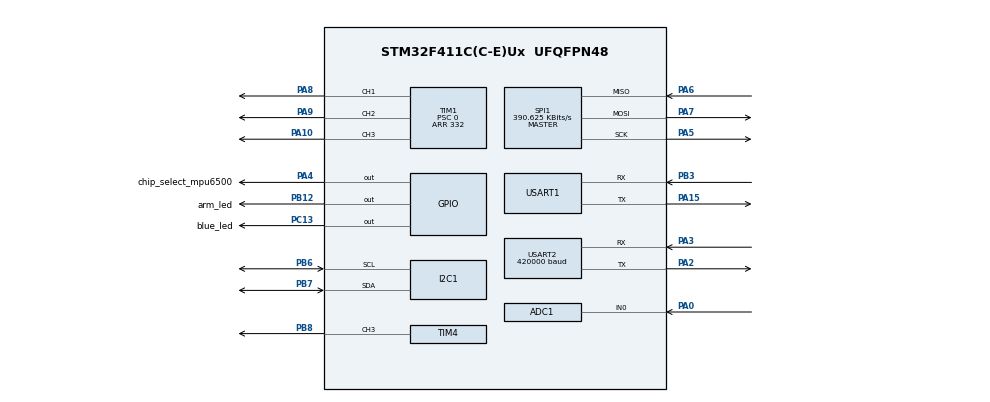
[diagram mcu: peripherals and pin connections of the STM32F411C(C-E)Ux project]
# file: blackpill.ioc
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ADC1.Channel-0\#ChannelRegularConversion=ADC_CHANNEL_0
ADC1.NbrOfConversionFlag=1
ADC1.Rank-0\#ChannelRegularConversion=1
ADC1.SamplingTime-0\#ChannelRegularConversion=ADC_SAMPLETIME_480CYCLES
ADC1.master=1
Dma.Request0=USART1_RX
Dma.Request1=USART1_TX
Dma.Request2=SPI1_RX
Dma.Request3=SPI1_TX
Dma.Request4=USART2_RX
Dma.Request5=USART2_TX
Dma.Request6=TIM1_CH1
Dma.Request7=TIM1_CH2
Dma.Request8=TIM1_CH3
Dma.Request9=TIM4_CH3
Dma.SPI1_RX.2.Direction=DMA_PERIPH_TO_MEMORY
Dma.SPI1_RX.2.FIFOMode=DMA_FIFOMODE_DISABLE
Dma.SPI1_RX.2.Instance=DMA2_Stream0
Dma.SPI1_RX.2.MemDataAlignment=DMA_MDATAALIGN_BYTE
Dma.SPI1_RX.2.MemInc=DMA_MINC_ENABLE
Dma.SPI1_RX.2.Mode=DMA_NORMAL
Dma.SPI1_RX.2.PeriphDataAlignment=DMA_PDATAALIGN_BYTE
Dma.SPI1_RX.2.PeriphInc=DMA_PINC_DISABLE
Dma.SPI1_RX.2.Priority=DMA_PRIORITY_LOW
Dma.SPI1_TX.3.Direction=DMA_MEMORY_TO_PERIPH
Dma.SPI1_TX.3.FIFOMode=DMA_FIFOMODE_DISABLE
Dma.SPI1_TX.3.Instance=DMA2_Stream3
Dma.SPI1_TX.3.MemDataAlignment=DMA_MDATAALIGN_BYTE
Dma.SPI1_TX.3.MemInc=DMA_MINC_ENABLE
Dma.SPI1_TX.3.Mode=DMA_NORMAL
Dma.SPI1_TX.3.PeriphDataAlignment=DMA_PDATAALIGN_BYTE
Dma.SPI1_TX.3.PeriphInc=DMA_PINC_DISABLE
Dma.SPI1_TX.3.Priority=DMA_PRIORITY_LOW
Dma.TIM1_CH1.6.Direction=DMA_MEMORY_TO_PERIPH
Dma.TIM1_CH1.6.FIFOMode=DMA_FIFOMODE_DISABLE
Dma.TIM1_CH1.6.Instance=DMA2_Stream1
Dma.TIM1_CH1.6.MemDataAlignment=DMA_MDATAALIGN_HALFWORD
Dma.TIM1_CH1.6.MemInc=DMA_MINC_ENABLE
Dma.TIM1_CH1.6.Mode=DMA_NORMAL
Dma.TIM1_CH1.6.PeriphDataAlignment=DMA_PDATAALIGN_HALFWORD
Dma.TIM1_CH1.6.PeriphInc=DMA_PINC_DISABLE
Dma.TIM1_CH1.6.Priority=DMA_PRIORITY_VERY_HIGH
Dma.TIM1_CH2.7.Direction=DMA_MEMORY_TO_PERIPH
Dma.TIM1_CH2.7.FIFOMode=DMA_FIFOMODE_DISABLE
Dma.TIM1_CH2.7.Instance=DMA2_Stream2
Dma.TIM1_CH2.7.MemDataAlignment=DMA_MDATAALIGN_HALFWORD
Dma.TIM1_CH2.7.MemInc=DMA_MINC_ENABLE
Dma.TIM1_CH2.7.Mode=DMA_NORMAL
Dma.TIM1_CH2.7.PeriphDataAlignment=DMA_PDATAALIGN_HALFWORD
Dma.TIM1_CH2.7.PeriphInc=DMA_PINC_DISABLE
Dma.TIM1_CH2.7.Priority=DMA_PRIORITY_VERY_HIGH
Dma.TIM1_CH3.8.Direction=DMA_MEMORY_TO_PERIPH
Dma.TIM1_CH3.8.FIFOMode=DMA_FIFOMODE_DISABLE
Dma.TIM1_CH3.8.Instance=DMA2_Stream6
Dma.TIM1_CH3.8.MemDataAlignment=DMA_MDATAALIGN_HALFWORD
Dma.TIM1_CH3.8.MemInc=DMA_MINC_ENABLE
Dma.TIM1_CH3.8.Mode=DMA_NORMAL
Dma.TIM1_CH3.8.PeriphDataAlignment=DMA_PDATAALIGN_HALFWORD
Dma.TIM1_CH3.8.PeriphInc=DMA_PINC_DISABLE
Dma.TIM1_CH3.8.Priority=DMA_PRIORITY_VERY_HIGH
Dma.TIM4_CH3.9.Direction=DMA_MEMORY_TO_PERIPH
Dma.TIM4_CH3.9.FIFOMode=DMA_FIFOMODE_DISABLE
Dma.TIM4_CH3.9.Instance=DMA1_Stream7
Dma.TIM4_CH3.9.MemDataAlignment=DMA_MDATAALIGN_HALFWORD
Dma.TIM4_CH3.9.MemInc=DMA_MINC_ENABLE
Dma.TIM4_CH3.9.Mode=DMA_NORMAL
Dma.TIM4_CH3.9.PeriphDataAlignment=DMA_PDATAALIGN_HALFWORD
Dma.TIM4_CH3.9.PeriphInc=DMA_PINC_DISABLE
Dma.TIM4_CH3.9.Priority=DMA_PRIORITY_VERY_HIGH
Dma.USART1_RX.0.Direction=DMA_PERIPH_TO_MEMORY
Dma.USART1_RX.0.FIFOMode=DMA_FIFOMODE_DISABLE
Dma.USART1_RX.0.Instance=DMA2_Stream5
Dma.USART1_RX.0.MemDataAlignment=DMA_MDATAALIGN_BYTE
Dma.USART1_RX.0.MemInc=DMA_MINC_ENABLE
Dma.USART1_RX.0.Mode=DMA_NORMAL
Dma.USART1_RX.0.PeriphDataAlignment=DMA_PDATAALIGN_BYTE
Dma.USART1_RX.0.PeriphInc=DMA_PINC_DISABLE
Dma.USART1_RX.0.Priority=DMA_PRIORITY_LOW
Dma.USART1_TX.1.Direction=DMA_MEMORY_TO_PERIPH
Dma.USART1_TX.1.FIFOMode=DMA_FIFOMODE_DISABLE
Dma.USART1_TX.1.Instance=DMA2_Stream7
Dma.USART1_TX.1.MemDataAlignment=DMA_MDATAALIGN_BYTE
Dma.USART1_TX.1.MemInc=DMA_MINC_ENABLE
Dma.USART1_TX.1.Mode=DMA_NORMAL
Dma.USART1_TX.1.PeriphDataAlignment=DMA_PDATAALIGN_BYTE
Dma.USART1_TX.1.PeriphInc=DMA_PINC_DISABLE
Dma.USART1_TX.1.Priority=DMA_PRIORITY_LOW
Dma.USART2_RX.4.Direction=DMA_PERIPH_TO_MEMORY
Dma.USART2_RX.4.FIFOMode=DMA_FIFOMODE_DISABLE
Dma.USART2_RX.4.Instance=DMA1_Stream5
Dma.USART2_RX.4.MemDataAlignment=DMA_MDATAALIGN_BYTE
Dma.USART2_RX.4.MemInc=DMA_MINC_ENABLE
Dma.USART2_RX.4.Mode=DMA_NORMAL
Dma.USART2_RX.4.PeriphDataAlignment=DMA_PDATAALIGN_BYTE
Dma.USART2_RX.4.PeriphInc=DMA_PINC_DISABLE
Dma.USART2_RX.4.Priority=DMA_PRIORITY_LOW
Dma.USART2_TX.5.Direction=DMA_MEMORY_TO_PERIPH
Dma.USART2_TX.5.FIFOMode=DMA_FIFOMODE_DISABLE
Dma.USART2_TX.5.Instance=DMA1_Stream6
Dma.USART2_TX.5.MemDataAlignment=DMA_MDATAALIGN_BYTE
Dma.USART2_TX.5.MemInc=DMA_MINC_ENABLE
Dma.USART2_TX.5.Mode=DMA_NORMAL
Dma.USART2_TX.5.PeriphDataAlignment=DMA_PDATAALIGN_BYTE
Dma.USART2_TX.5.PeriphInc=DMA_PINC_DISABLE
Dma.USART2_TX.5.Priority=DMA_PRIORITY_LOW
Mcu.Family=STM32F4
Mcu.Name=STM32F411C(C-E)Ux
Mcu.Package=UFQFPN48
NVIC.DMA1_Stream5_IRQn=true\:11\:0\:true\:false\:false\:true\:false\:true
NVIC.DMA2_Stream0_IRQn=true\:5\:0\:true\:false\:false\:true\:false\:true
NVIC.I2C1_ER_IRQn=true\:9\:0\:true\:false\:false\:true\:false\:true
NVIC.I2C1_EV_IRQn=true\:9\:0\:true\:false\:false\:true\:false\:true
NVIC.PriorityGroup=NVIC_PRIORITYGROUP_4
NVIC.TIM3_IRQn=true\:5\:0\:true\:false\:false\:true\:false\:true
NVIC.USART1_IRQn=true\:14\:0\:true\:false\:false\:true\:false\:true
NVIC.USART2_IRQn=true\:11\:0\:true\:false\:false\:true\:false\:true
PA0-WKUP.Signal=ADCx_IN0
PA10.GPIO_PuPd=GPIO_PULLDOWN
PA10.GPIO_Speed=GPIO_SPEED_FREQ_HIGH
PA10.Signal=S_TIM1_CH3
PA13.Mode=Serial_Wire
PA13.Signal=SYS_JTMS-SWDIO
PA14.Mode=Serial_Wire
PA14.Signal=SYS_JTCK-SWCLK
PA15.Mode=Asynchronous
PA15.Signal=USART1_TX
PA2.Mode=Asynchronous
PA2.Signal=USART2_TX
PA3.Mode=Asynchronous
PA3.Signal=USART2_RX
PA4.GPIO_Label=chip_select_mpu6500
PA4.GPIO_PuPd=GPIO_PULLUP
PA4.PinState=GPIO_PIN_SET
PA4.Signal=GPIO_Output
PA5.Mode=Full_Duplex_Master
PA5.Signal=SPI1_SCK
PA6.Mode=Full_Duplex_Master
PA6.Signal=SPI1_MISO
PA7.Mode=Full_Duplex_Master
PA7.Signal=SPI1_MOSI
PA8.GPIO_PuPd=GPIO_PULLDOWN
PA8.GPIO_Speed=GPIO_SPEED_FREQ_HIGH
PA8.Signal=S_TIM1_CH1
PA9.GPIO_PuPd=GPIO_PULLDOWN
PA9.GPIO_Speed=GPIO_SPEED_FREQ_HIGH
PA9.Signal=S_TIM1_CH2
PB12.GPIO_Label=arm_led
PB12.GPIO_PuPd=GPIO_PULLDOWN
PB12.Signal=GPIO_Output
PB3.Mode=Asynchronous
PB3.Signal=USART1_RX
PB6.GPIO_Pu=GPIO_PULLUP
PB6.Mode=I2C
PB6.Signal=I2C1_SCL
PB7.GPIO_Pu=GPIO_PULLUP
PB7.Mode=I2C
PB7.Signal=I2C1_SDA
PB8.GPIO_PuPd=GPIO_PULLDOWN
PB8.GPIO_Speed=GPIO_SPEED_FREQ_HIGH
PB8.Signal=S_TIM4_CH3
PC13-ANTI_TAMP.GPIO_Label=blue_led
PC13-ANTI_TAMP.Signal=GPIO_Output
PH0\ -\ OSC_IN.Mode=HSE-External-Oscillator
PH0\ -\ OSC_IN.Signal=RCC_OSC_IN
PH1\ -\ OSC_OUT.Mode=HSE-External-Oscillator
PH1\ -\ OSC_OUT.Signal=RCC_OSC_OUT
ProjectManager.HeapSize=0x200
ProjectManager.StackSize=0x400
ProjectManager.TargetToolchain=Makefile
RCC.48MHZClocksFreq_Value=50000000
RCC.AHBFreq_Value=100000000
RCC.APB1CLKDivider=RCC_HCLK_DIV2
RCC.APB1Freq_Value=50000000
RCC.APB1TimFreq_Value=100000000
RCC.APB2Freq_Value=100000000
RCC.APB2TimFreq_Value=100000000
RCC.CortexFreq_Value=100000000
RCC.HCLKFreq_Value=100000000
RCC.HSE_VALUE=25000000
RCC.HSI_VALUE=16000000
RCC.LSE_VALUE=32768
RCC.PLLM=12
RCC.PLLN=96
RCC.PLLSourceVirtual=RCC_PLLSOURCE_HSE
RCC.SYSCLKFreq_VALUE=100000000
RCC.SYSCLKSource=RCC_SYSCLKSOURCE_PLLCLK
RCC.VCOOutputFreq_Value=200000000
SH.ADCx_IN0.0=ADC1_IN0,IN0
SH.S_TIM1_CH1.0=TIM1_CH1,PWM Generation1 CH1
SH.S_TIM1_CH2.0=TIM1_CH2,PWM Generation2 CH2
SH.S_TIM1_CH3.0=TIM1_CH3,PWM Generation3 CH3
SH.S_TIM4_CH3.0=TIM4_CH3,PWM Generation3 CH3
SPI1.BaudRatePrescaler=SPI_BAUDRATEPRESCALER_256
SPI1.CalculateBaudRate=390.625 KBits/s
SPI1.Direction=SPI_DIRECTION_2LINES
SPI1.Mode=SPI_MODE_MASTER
SPI1.VirtualType=VM_MASTER
TIM1.AutoReloadPreload=TIM_AUTORELOAD_PRELOAD_ENABLE
TIM1.Channel-PWM\ Generation1\ CH1=TIM_CHANNEL_1
TIM1.Channel-PWM\ Generation2\ CH2=TIM_CHANNEL_2
TIM1.Channel-PWM\ Generation3\ CH3=TIM_CHANNEL_3
TIM1.Period=332
TIM1.Prescaler=0
TIM1.TIM_MasterOutputTrigger=TIM_TRGO_UPDATE
TIM2.Period=0xFFFFFFFF
TIM2.Prescaler=99
TIM3.Period=39
TIM3.Prescaler=9999
TIM4.AutoReloadPreload=TIM_AUTORELOAD_PRELOAD_ENABLE
TIM4.Channel-PWM\ Generation3\ CH3=TIM_CHANNEL_3
TIM4.Period=332
TIM4.Prescaler=0
USART1.VirtualMode=VM_ASYNC
USART2.BaudRate=420000
USART2.VirtualMode=VM_ASYNC
VP_TIM1_VS_ClockSourceINT.Mode=Internal
VP_TIM2_VS_ClockSourceINT.Mode=Internal
VP_TIM3_VS_ClockSourceINT.Mode=Internal
VP_TIM4_VS_ClockSourceITR.Mode=TriggerSource_ITR0
VP_TIM4_VS_ControllerModeReset.Mode=Reset Mode
board=custom

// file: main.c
/* USER CODE BEGIN Header */
/**
  ******************************************************************************
  * @file           : main.c
  * @brief          : Main program body
  ******************************************************************************
  * @attention
  *
  * Copyright (c) 2025 STMicroelectronics.
  * All rights reserved.
  *
  * This software is licensed under terms that can be found in the LICENSE file
  * in the root directory of this software component.
  * If no LICENSE file comes with this software, it is provided AS-IS.
  *
  ******************************************************************************
  */
/* USER CODE END Header */
#include "main.h"

void SystemClock_Config(void);
static void MX_GPIO_Init(void);
static void MX_DMA_Init(void);
static void MX_USART1_UART_Init(void);
static void MX_SPI1_Init(void);
static void MX_TIM2_Init(void);
static void MX_TIM3_Init(void);
static void MX_I2C1_Init(void);
static void MX_USART2_UART_Init(void);
static void MX_TIM1_Init(void);
static void MX_ADC1_Init(void);
static void MX_TIM4_Init(void);

/* USER CODE BEGIN 0 */
void hal_failed_assert_handler(const char* file, const uint32_t line, const uint32_t pc);
void hal_error_handler(const uint32_t pc);
void controller_initialize_hardware_and_start_scheduler(void);
/* USER CODE END 0 */

int main(void)
{

  /* MCU Configuration--------------------------------------------------------*/

  /* Reset of all peripherals, Initializes the Flash interface and the Systick. */
  LL_APB2_GRP1_EnableClock(LL_APB2_GRP1_PERIPH_SYSCFG);
  LL_APB1_GRP1_EnableClock(LL_APB1_GRP1_PERIPH_PWR);

  /* System interrupt init*/
  NVIC_SetPriorityGrouping(NVIC_PRIORITYGROUP_4);

  /* SysTick_IRQn interrupt configuration */
  NVIC_SetPriority(SysTick_IRQn, NVIC_EncodePriority(NVIC_GetPriorityGrouping(),15, 0));

  /* Configure the system clock */
  SystemClock_Config();

  /* USER CODE BEGIN SysInit */
  // set fault masks
  SCB->SHCSR |= (SCB_SHCSR_MEMFAULTENA_Msk |
                 SCB_SHCSR_BUSFAULTENA_Msk |
                 SCB_SHCSR_USGFAULTENA_Msk);

  // enable DWT cycle counter
  CoreDebug->DEMCR |= CoreDebug_DEMCR_TRCENA_Msk;
  DWT->CYCCNT = 0;                       // reset
  DWT->CTRL |= DWT_CTRL_CYCCNTENA_Msk;   // enable

  // freeze timers
  DBGMCU->APB2FZ |= DBGMCU_APB2_FZ_DBG_TIM1_STOP;
  DBGMCU->APB1FZ |= DBGMCU_APB1_FZ_DBG_TIM2_STOP;
  DBGMCU->APB1FZ |= DBGMCU_APB1_FZ_DBG_TIM3_STOP;
  DBGMCU->APB1FZ |= DBGMCU_APB1_FZ_DBG_TIM4_STOP;
  DBGMCU->APB1FZ |= DBGMCU_APB1_FZ_DBG_TIM5_STOP;

  // Freeze watchdogs (avoid reset while debugging)
  DBGMCU->APB1FZ |= DBGMCU_APB1_FZ_DBG_IWDG_STOP;
  DBGMCU->APB1FZ |= DBGMCU_APB1_FZ_DBG_WWDG_STOP;

  /* USER CODE END SysInit */

  /* Initialize all configured peripherals */
  MX_GPIO_Init();
  MX_DMA_Init();
  MX_USART1_UART_Init();
  MX_SPI1_Init();
  MX_TIM2_Init();
  MX_TIM3_Init();
  MX_I2C1_Init();
  MX_USART2_UART_Init();
  MX_TIM1_Init();
  MX_ADC1_Init();
  MX_TIM4_Init();
  /* USER CODE BEGIN 2 */

  controller_initialize_hardware_and_start_scheduler();

  /* USER CODE END 2 */

  /* Infinite loop */
  while (1)
  {

  }
}

void SystemClock_Config(void)
{
  LL_FLASH_SetLatency(LL_FLASH_LATENCY_3);
  while(LL_FLASH_GetLatency()!= LL_FLASH_LATENCY_3)
  {
  }
  LL_PWR_SetRegulVoltageScaling(LL_PWR_REGU_VOLTAGE_SCALE1);
  LL_RCC_HSE_Enable();

   /* Wait till HSE is ready */
  while(LL_RCC_HSE_IsReady() != 1)
  {

  }
  LL_RCC_PLL_ConfigDomain_SYS(LL_RCC_PLLSOURCE_HSE, LL_RCC_PLLM_DIV_12, 96, LL_RCC_PLLP_DIV_2);
  LL_RCC_PLL_Enable();

   /* Wait till PLL is ready */
  while(LL_RCC_PLL_IsReady() != 1)
  {

  }
  while (LL_PWR_IsActiveFlag_VOS() == 0)
  {
  }
  LL_RCC_SetAHBPrescaler(LL_RCC_SYSCLK_DIV_1);
  LL_RCC_SetAPB1Prescaler(LL_RCC_APB1_DIV_2);
  LL_RCC_SetAPB2Prescaler(LL_RCC_APB2_DIV_1);
  LL_RCC_SetSysClkSource(LL_RCC_SYS_CLKSOURCE_PLL);

   /* Wait till System clock is ready */
  while(LL_RCC_GetSysClkSource() != LL_RCC_SYS_CLKSOURCE_STATUS_PLL)
  {

  }
  LL_Init1msTick(100000000);
  LL_SetSystemCoreClock(100000000);
  LL_RCC_SetTIMPrescaler(LL_RCC_TIM_PRESCALER_TWICE);
}

static void MX_ADC1_Init(void)
{

  LL_ADC_InitTypeDef ADC_InitStruct = {0};
  LL_ADC_REG_InitTypeDef ADC_REG_InitStruct = {0};
  LL_ADC_CommonInitTypeDef ADC_CommonInitStruct = {0};

  LL_GPIO_InitTypeDef GPIO_InitStruct = {0};

  /* Peripheral clock enable */
  LL_APB2_GRP1_EnableClock(LL_APB2_GRP1_PERIPH_ADC1);

  LL_AHB1_GRP1_EnableClock(LL_AHB1_GRP1_PERIPH_GPIOA);
  /**ADC1 GPIO Configuration
  PA0-WKUP   ------> ADC1_IN0
  */
  GPIO_InitStruct.Pin = LL_GPIO_PIN_0;
  GPIO_InitStruct.Mode = LL_GPIO_MODE_ANALOG;
  GPIO_InitStruct.Pull = LL_GPIO_PULL_NO;
  LL_GPIO_Init(GPIOA, &GPIO_InitStruct);

  /** Common config
  */
  ADC_InitStruct.Resolution = LL_ADC_RESOLUTION_12B;
  ADC_InitStruct.DataAlignment = LL_ADC_DATA_ALIGN_RIGHT;
  ADC_InitStruct.SequencersScanMode = LL_ADC_SEQ_SCAN_DISABLE;
  LL_ADC_Init(ADC1, &ADC_InitStruct);
  ADC_REG_InitStruct.TriggerSource = LL_ADC_REG_TRIG_SOFTWARE;
  ADC_REG_InitStruct.SequencerLength = LL_ADC_REG_SEQ_SCAN_DISABLE;
  ADC_REG_InitStruct.SequencerDiscont = LL_ADC_REG_SEQ_DISCONT_DISABLE;
  ADC_REG_InitStruct.ContinuousMode = LL_ADC_REG_CONV_SINGLE;
  ADC_REG_InitStruct.DMATransfer = LL_ADC_REG_DMA_TRANSFER_NONE;
  LL_ADC_REG_Init(ADC1, &ADC_REG_InitStruct);
  LL_ADC_REG_SetFlagEndOfConversion(ADC1, LL_ADC_REG_FLAG_EOC_UNITARY_CONV);
  ADC_CommonInitStruct.CommonClock = LL_ADC_CLOCK_SYNC_PCLK_DIV4;
  LL_ADC_CommonInit(__LL_ADC_COMMON_INSTANCE(ADC1), &ADC_CommonInitStruct);

  /** Configure Regular Channel
  */
  LL_ADC_REG_SetSequencerRanks(ADC1, LL_ADC_REG_RANK_1, LL_ADC_CHANNEL_0);
  LL_ADC_SetChannelSamplingTime(ADC1, LL_ADC_CHANNEL_0, LL_ADC_SAMPLINGTIME_480CYCLES);

}

static void MX_I2C1_Init(void)
{

  LL_I2C_InitTypeDef I2C_InitStruct = {0};

  LL_GPIO_InitTypeDef GPIO_InitStruct = {0};

  LL_AHB1_GRP1_EnableClock(LL_AHB1_GRP1_PERIPH_GPIOB);
  /**I2C1 GPIO Configuration
  PB6   ------> I2C1_SCL
  PB7   ------> I2C1_SDA
  */
  GPIO_InitStruct.Pin = LL_GPIO_PIN_6|LL_GPIO_PIN_7;
  GPIO_InitStruct.Mode = LL_GPIO_MODE_ALTERNATE;
  GPIO_InitStruct.Speed = LL_GPIO_SPEED_FREQ_VERY_HIGH;
  GPIO_InitStruct.OutputType = LL_GPIO_OUTPUT_OPENDRAIN;
  GPIO_InitStruct.Pull = LL_GPIO_PULL_UP;
  GPIO_InitStruct.Alternate = LL_GPIO_AF_4;
  LL_GPIO_Init(GPIOB, &GPIO_InitStruct);

  /* Peripheral clock enable */
  LL_APB1_GRP1_EnableClock(LL_APB1_GRP1_PERIPH_I2C1);

  /* I2C1 interrupt Init */
  NVIC_SetPriority(I2C1_EV_IRQn, NVIC_EncodePriority(NVIC_GetPriorityGrouping(),9, 0));
  NVIC_EnableIRQ(I2C1_EV_IRQn);
  NVIC_SetPriority(I2C1_ER_IRQn, NVIC_EncodePriority(NVIC_GetPriorityGrouping(),9, 0));
  NVIC_EnableIRQ(I2C1_ER_IRQn);

  /** I2C Initialization
  */
  LL_I2C_DisableOwnAddress2(I2C1);
  LL_I2C_DisableGeneralCall(I2C1);
  LL_I2C_EnableClockStretching(I2C1);
  I2C_InitStruct.PeripheralMode = LL_I2C_MODE_I2C;
  I2C_InitStruct.ClockSpeed = 100000;
  I2C_InitStruct.DutyCycle = LL_I2C_DUTYCYCLE_2;
  I2C_InitStruct.OwnAddress1 = 0;
  I2C_InitStruct.TypeAcknowledge = LL_I2C_ACK;
  I2C_InitStruct.OwnAddrSize = LL_I2C_OWNADDRESS1_7BIT;
  LL_I2C_Init(I2C1, &I2C_InitStruct);
  LL_I2C_SetOwnAddress2(I2C1, 0);

}

static void MX_SPI1_Init(void)
{

  LL_SPI_InitTypeDef SPI_InitStruct = {0};

  LL_GPIO_InitTypeDef GPIO_InitStruct = {0};

  /* Peripheral clock enable */
  LL_APB2_GRP1_EnableClock(LL_APB2_GRP1_PERIPH_SPI1);

  LL_AHB1_GRP1_EnableClock(LL_AHB1_GRP1_PERIPH_GPIOA);
  /**SPI1 GPIO Configuration
  PA5   ------> SPI1_SCK
  PA6   ------> SPI1_MISO
  PA7   ------> SPI1_MOSI
  */
  GPIO_InitStruct.Pin = LL_GPIO_PIN_5|LL_GPIO_PIN_6|LL_GPIO_PIN_7;
  GPIO_InitStruct.Mode = LL_GPIO_MODE_ALTERNATE;
  GPIO_InitStruct.Speed = LL_GPIO_SPEED_FREQ_VERY_HIGH;
  GPIO_InitStruct.OutputType = LL_GPIO_OUTPUT_PUSHPULL;
  GPIO_InitStruct.Pull = LL_GPIO_PULL_NO;
  GPIO_InitStruct.Alternate = LL_GPIO_AF_5;
  LL_GPIO_Init(GPIOA, &GPIO_InitStruct);

  /* SPI1 DMA Init */

  /* SPI1_RX Init */
  LL_DMA_SetChannelSelection(DMA2, LL_DMA_STREAM_0, LL_DMA_CHANNEL_3);

  LL_DMA_SetDataTransferDirection(DMA2, LL_DMA_STREAM_0, LL_DMA_DIRECTION_PERIPH_TO_MEMORY);

  LL_DMA_SetStreamPriorityLevel(DMA2, LL_DMA_STREAM_0, LL_DMA_PRIORITY_LOW);

  LL_DMA_SetMode(DMA2, LL_DMA_STREAM_0, LL_DMA_MODE_NORMAL);

  LL_DMA_SetPeriphIncMode(DMA2, LL_DMA_STREAM_0, LL_DMA_PERIPH_NOINCREMENT);

  LL_DMA_SetMemoryIncMode(DMA2, LL_DMA_STREAM_0, LL_DMA_MEMORY_INCREMENT);

  LL_DMA_SetPeriphSize(DMA2, LL_DMA_STREAM_0, LL_DMA_PDATAALIGN_BYTE);

  LL_DMA_SetMemorySize(DMA2, LL_DMA_STREAM_0, LL_DMA_MDATAALIGN_BYTE);

  LL_DMA_DisableFifoMode(DMA2, LL_DMA_STREAM_0);

  /* SPI1_TX Init */
  LL_DMA_SetChannelSelection(DMA2, LL_DMA_STREAM_3, LL_DMA_CHANNEL_3);

  LL_DMA_SetDataTransferDirection(DMA2, LL_DMA_STREAM_3, LL_DMA_DIRECTION_MEMORY_TO_PERIPH);

  LL_DMA_SetStreamPriorityLevel(DMA2, LL_DMA_STREAM_3, LL_DMA_PRIORITY_LOW);

  LL_DMA_SetMode(DMA2, LL_DMA_STREAM_3, LL_DMA_MODE_NORMAL);

  LL_DMA_SetPeriphIncMode(DMA2, LL_DMA_STREAM_3, LL_DMA_PERIPH_NOINCREMENT);

  LL_DMA_SetMemoryIncMode(DMA2, LL_DMA_STREAM_3, LL_DMA_MEMORY_INCREMENT);

  LL_DMA_SetPeriphSize(DMA2, LL_DMA_STREAM_3, LL_DMA_PDATAALIGN_BYTE);

  LL_DMA_SetMemorySize(DMA2, LL_DMA_STREAM_3, LL_DMA_MDATAALIGN_BYTE);

  LL_DMA_DisableFifoMode(DMA2, LL_DMA_STREAM_3);

  /* SPI1 parameter configuration*/
  SPI_InitStruct.TransferDirection = LL_SPI_FULL_DUPLEX;
  SPI_InitStruct.Mode = LL_SPI_MODE_MASTER;
  SPI_InitStruct.DataWidth = LL_SPI_DATAWIDTH_8BIT;
  SPI_InitStruct.ClockPolarity = LL_SPI_POLARITY_LOW;
  SPI_InitStruct.ClockPhase = LL_SPI_PHASE_1EDGE;
  SPI_InitStruct.NSS = LL_SPI_NSS_SOFT;
  SPI_InitStruct.BaudRate = LL_SPI_BAUDRATEPRESCALER_DIV256;
  SPI_InitStruct.BitOrder = LL_SPI_MSB_FIRST;
  SPI_InitStruct.CRCCalculation = LL_SPI_CRCCALCULATION_DISABLE;
  SPI_InitStruct.CRCPoly = 10;
  LL_SPI_Init(SPI1, &SPI_InitStruct);
  LL_SPI_SetStandard(SPI1, LL_SPI_PROTOCOL_MOTOROLA);

}

static void MX_TIM1_Init(void)
{

  LL_TIM_InitTypeDef TIM_InitStruct = {0};
  LL_TIM_OC_InitTypeDef TIM_OC_InitStruct = {0};
  LL_TIM_BDTR_InitTypeDef TIM_BDTRInitStruct = {0};

  LL_GPIO_InitTypeDef GPIO_InitStruct = {0};

  /* Peripheral clock enable */
  LL_APB2_GRP1_EnableClock(LL_APB2_GRP1_PERIPH_TIM1);

  /* TIM1 DMA Init */

  /* TIM1_CH1 Init */
  LL_DMA_SetChannelSelection(DMA2, LL_DMA_STREAM_1, LL_DMA_CHANNEL_6);

  LL_DMA_SetDataTransferDirection(DMA2, LL_DMA_STREAM_1, LL_DMA_DIRECTION_MEMORY_TO_PERIPH);

  LL_DMA_SetStreamPriorityLevel(DMA2, LL_DMA_STREAM_1, LL_DMA_PRIORITY_VERYHIGH);

  LL_DMA_SetMode(DMA2, LL_DMA_STREAM_1, LL_DMA_MODE_NORMAL);

  LL_DMA_SetPeriphIncMode(DMA2, LL_DMA_STREAM_1, LL_DMA_PERIPH_NOINCREMENT);

  LL_DMA_SetMemoryIncMode(DMA2, LL_DMA_STREAM_1, LL_DMA_MEMORY_INCREMENT);

  LL_DMA_SetPeriphSize(DMA2, LL_DMA_STREAM_1, LL_DMA_PDATAALIGN_HALFWORD);

  LL_DMA_SetMemorySize(DMA2, LL_DMA_STREAM_1, LL_DMA_MDATAALIGN_HALFWORD);

  LL_DMA_DisableFifoMode(DMA2, LL_DMA_STREAM_1);

  /* TIM1_CH2 Init */
  LL_DMA_SetChannelSelection(DMA2, LL_DMA_STREAM_2, LL_DMA_CHANNEL_6);

  LL_DMA_SetDataTransferDirection(DMA2, LL_DMA_STREAM_2, LL_DMA_DIRECTION_MEMORY_TO_PERIPH);

  LL_DMA_SetStreamPriorityLevel(DMA2, LL_DMA_STREAM_2, LL_DMA_PRIORITY_VERYHIGH);

  LL_DMA_SetMode(DMA2, LL_DMA_STREAM_2, LL_DMA_MODE_NORMAL);

  LL_DMA_SetPeriphIncMode(DMA2, LL_DMA_STREAM_2, LL_DMA_PERIPH_NOINCREMENT);

  LL_DMA_SetMemoryIncMode(DMA2, LL_DMA_STREAM_2, LL_DMA_MEMORY_INCREMENT);

  LL_DMA_SetPeriphSize(DMA2, LL_DMA_STREAM_2, LL_DMA_PDATAALIGN_HALFWORD);

  LL_DMA_SetMemorySize(DMA2, LL_DMA_STREAM_2, LL_DMA_MDATAALIGN_HALFWORD);

  LL_DMA_DisableFifoMode(DMA2, LL_DMA_STREAM_2);

  /* TIM1_CH3 Init */
  LL_DMA_SetChannelSelection(DMA2, LL_DMA_STREAM_6, LL_DMA_CHANNEL_6);

  LL_DMA_SetDataTransferDirection(DMA2, LL_DMA_STREAM_6, LL_DMA_DIRECTION_MEMORY_TO_PERIPH);

  LL_DMA_SetStreamPriorityLevel(DMA2, LL_DMA_STREAM_6, LL_DMA_PRIORITY_VERYHIGH);

  LL_DMA_SetMode(DMA2, LL_DMA_STREAM_6, LL_DMA_MODE_NORMAL);

  LL_DMA_SetPeriphIncMode(DMA2, LL_DMA_STREAM_6, LL_DMA_PERIPH_NOINCREMENT);

  LL_DMA_SetMemoryIncMode(DMA2, LL_DMA_STREAM_6, LL_DMA_MEMORY_INCREMENT);

  LL_DMA_SetPeriphSize(DMA2, LL_DMA_STREAM_6, LL_DMA_PDATAALIGN_HALFWORD);

  LL_DMA_SetMemorySize(DMA2, LL_DMA_STREAM_6, LL_DMA_MDATAALIGN_HALFWORD);

  LL_DMA_DisableFifoMode(DMA2, LL_DMA_STREAM_6);

  TIM_InitStruct.Prescaler = 0;
  TIM_InitStruct.CounterMode = LL_TIM_COUNTERMODE_UP;
  TIM_InitStruct.Autoreload = 332;
  TIM_InitStruct.ClockDivision = LL_TIM_CLOCKDIVISION_DIV1;
  TIM_InitStruct.RepetitionCounter = 0;
  LL_TIM_Init(TIM1, &TIM_InitStruct);
  LL_TIM_EnableARRPreload(TIM1);
  LL_TIM_SetClockSource(TIM1, LL_TIM_CLOCKSOURCE_INTERNAL);
  LL_TIM_OC_EnablePreload(TIM1, LL_TIM_CHANNEL_CH1);
  TIM_OC_InitStruct.OCMode = LL_TIM_OCMODE_PWM1;
  TIM_OC_InitStruct.OCState = LL_TIM_OCSTATE_DISABLE;
  TIM_OC_InitStruct.OCNState = LL_TIM_OCSTATE_DISABLE;
  TIM_OC_InitStruct.CompareValue = 0;
  TIM_OC_InitStruct.OCPolarity = LL_TIM_OCPOLARITY_HIGH;
  TIM_OC_InitStruct.OCNPolarity = LL_TIM_OCPOLARITY_HIGH;
  TIM_OC_InitStruct.OCIdleState = LL_TIM_OCIDLESTATE_LOW;
  TIM_OC_InitStruct.OCNIdleState = LL_TIM_OCIDLESTATE_LOW;
  LL_TIM_OC_Init(TIM1, LL_TIM_CHANNEL_CH1, &TIM_OC_InitStruct);
  LL_TIM_OC_DisableFast(TIM1, LL_TIM_CHANNEL_CH1);
  LL_TIM_OC_EnablePreload(TIM1, LL_TIM_CHANNEL_CH2);
  LL_TIM_OC_Init(TIM1, LL_TIM_CHANNEL_CH2, &TIM_OC_InitStruct);
  LL_TIM_OC_DisableFast(TIM1, LL_TIM_CHANNEL_CH2);
  LL_TIM_OC_EnablePreload(TIM1, LL_TIM_CHANNEL_CH3);
  LL_TIM_OC_Init(TIM1, LL_TIM_CHANNEL_CH3, &TIM_OC_InitStruct);
  LL_TIM_OC_DisableFast(TIM1, LL_TIM_CHANNEL_CH3);
  LL_TIM_SetTriggerOutput(TIM1, LL_TIM_TRGO_UPDATE);
  LL_TIM_DisableMasterSlaveMode(TIM1);
  TIM_BDTRInitStruct.OSSRState = LL_TIM_OSSR_DISABLE;
  TIM_BDTRInitStruct.OSSIState = LL_TIM_OSSI_DISABLE;
  TIM_BDTRInitStruct.LockLevel = LL_TIM_LOCKLEVEL_OFF;
  TIM_BDTRInitStruct.DeadTime = 0;
  TIM_BDTRInitStruct.BreakState = LL_TIM_BREAK_DISABLE;
  TIM_BDTRInitStruct.BreakPolarity = LL_TIM_BREAK_POLARITY_HIGH;
  TIM_BDTRInitStruct.AutomaticOutput = LL_TIM_AUTOMATICOUTPUT_DISABLE;
  LL_TIM_BDTR_Init(TIM1, &TIM_BDTRInitStruct);
  LL_AHB1_GRP1_EnableClock(LL_AHB1_GRP1_PERIPH_GPIOA);
  /**TIM1 GPIO Configuration
  PA8   ------> TIM1_CH1
  PA9   ------> TIM1_CH2
  PA10   ------> TIM1_CH3
  */
  GPIO_InitStruct.Pin = LL_GPIO_PIN_8|LL_GPIO_PIN_9|LL_GPIO_PIN_10;
  GPIO_InitStruct.Mode = LL_GPIO_MODE_ALTERNATE;
  GPIO_InitStruct.Speed = LL_GPIO_SPEED_FREQ_HIGH;
  GPIO_InitStruct.OutputType = LL_GPIO_OUTPUT_PUSHPULL;
  GPIO_InitStruct.Pull = LL_GPIO_PULL_DOWN;
  GPIO_InitStruct.Alternate = LL_GPIO_AF_1;
  LL_GPIO_Init(GPIOA, &GPIO_InitStruct);

}

static void MX_TIM2_Init(void)
{

  LL_TIM_InitTypeDef TIM_InitStruct = {0};

  /* Peripheral clock enable */
  LL_APB1_GRP1_EnableClock(LL_APB1_GRP1_PERIPH_TIM2);

  TIM_InitStruct.Prescaler = 99;
  TIM_InitStruct.CounterMode = LL_TIM_COUNTERMODE_UP;
  TIM_InitStruct.Autoreload = 0xFFFFFFFF;
  TIM_InitStruct.ClockDivision = LL_TIM_CLOCKDIVISION_DIV1;
  LL_TIM_Init(TIM2, &TIM_InitStruct);
  LL_TIM_DisableARRPreload(TIM2);
  LL_TIM_SetClockSource(TIM2, LL_TIM_CLOCKSOURCE_INTERNAL);
  LL_TIM_SetTriggerOutput(TIM2, LL_TIM_TRGO_RESET);
  LL_TIM_DisableMasterSlaveMode(TIM2);

}

static void MX_TIM3_Init(void)
{

  LL_TIM_InitTypeDef TIM_InitStruct = {0};

  /* Peripheral clock enable */
  LL_APB1_GRP1_EnableClock(LL_APB1_GRP1_PERIPH_TIM3);

  /* TIM3 interrupt Init */
  NVIC_SetPriority(TIM3_IRQn, NVIC_EncodePriority(NVIC_GetPriorityGrouping(),5, 0));
  NVIC_EnableIRQ(TIM3_IRQn);

  TIM_InitStruct.Prescaler = 9999;
  TIM_InitStruct.CounterMode = LL_TIM_COUNTERMODE_UP;
  TIM_InitStruct.Autoreload = 39;
  TIM_InitStruct.ClockDivision = LL_TIM_CLOCKDIVISION_DIV1;
  LL_TIM_Init(TIM3, &TIM_InitStruct);
  LL_TIM_DisableARRPreload(TIM3);
  LL_TIM_SetClockSource(TIM3, LL_TIM_CLOCKSOURCE_INTERNAL);
  LL_TIM_SetTriggerOutput(TIM3, LL_TIM_TRGO_RESET);
  LL_TIM_DisableMasterSlaveMode(TIM3);

}

static void MX_TIM4_Init(void)
{

  LL_TIM_InitTypeDef TIM_InitStruct = {0};
  LL_TIM_OC_InitTypeDef TIM_OC_InitStruct = {0};

  LL_GPIO_InitTypeDef GPIO_InitStruct = {0};

  /* Peripheral clock enable */
  LL_APB1_GRP1_EnableClock(LL_APB1_GRP1_PERIPH_TIM4);

  /* TIM4 DMA Init */

  /* TIM4_CH3 Init */
  LL_DMA_SetChannelSelection(DMA1, LL_DMA_STREAM_7, LL_DMA_CHANNEL_2);

  LL_DMA_SetDataTransferDirection(DMA1, LL_DMA_STREAM_7, LL_DMA_DIRECTION_MEMORY_TO_PERIPH);

  LL_DMA_SetStreamPriorityLevel(DMA1, LL_DMA_STREAM_7, LL_DMA_PRIORITY_VERYHIGH);

  LL_DMA_SetMode(DMA1, LL_DMA_STREAM_7, LL_DMA_MODE_NORMAL);

  LL_DMA_SetPeriphIncMode(DMA1, LL_DMA_STREAM_7, LL_DMA_PERIPH_NOINCREMENT);

  LL_DMA_SetMemoryIncMode(DMA1, LL_DMA_STREAM_7, LL_DMA_MEMORY_INCREMENT);

  LL_DMA_SetPeriphSize(DMA1, LL_DMA_STREAM_7, LL_DMA_PDATAALIGN_HALFWORD);

  LL_DMA_SetMemorySize(DMA1, LL_DMA_STREAM_7, LL_DMA_MDATAALIGN_HALFWORD);

  LL_DMA_DisableFifoMode(DMA1, LL_DMA_STREAM_7);

  TIM_InitStruct.Prescaler = 0;
  TIM_InitStruct.CounterMode = LL_TIM_COUNTERMODE_UP;
  TIM_InitStruct.Autoreload = 332;
  TIM_InitStruct.ClockDivision = LL_TIM_CLOCKDIVISION_DIV1;
  LL_TIM_Init(TIM4, &TIM_InitStruct);
  LL_TIM_EnableARRPreload(TIM4);
  LL_TIM_OC_EnablePreload(TIM4, LL_TIM_CHANNEL_CH3);
  TIM_OC_InitStruct.OCMode = LL_TIM_OCMODE_PWM1;
  TIM_OC_InitStruct.OCState = LL_TIM_OCSTATE_DISABLE;
  TIM_OC_InitStruct.OCNState = LL_TIM_OCSTATE_DISABLE;
  TIM_OC_InitStruct.CompareValue = 0;
  TIM_OC_InitStruct.OCPolarity = LL_TIM_OCPOLARITY_HIGH;
  LL_TIM_OC_Init(TIM4, LL_TIM_CHANNEL_CH3, &TIM_OC_InitStruct);
  LL_TIM_OC_DisableFast(TIM4, LL_TIM_CHANNEL_CH3);
  LL_TIM_SetTriggerInput(TIM4, LL_TIM_TS_ITR0);
  LL_TIM_SetSlaveMode(TIM4, LL_TIM_SLAVEMODE_RESET);
  LL_TIM_DisableIT_TRIG(TIM4);
  LL_TIM_DisableDMAReq_TRIG(TIM4);
  LL_TIM_SetTriggerOutput(TIM4, LL_TIM_TRGO_RESET);
  LL_TIM_DisableMasterSlaveMode(TIM4);
  LL_AHB1_GRP1_EnableClock(LL_AHB1_GRP1_PERIPH_GPIOB);
  /**TIM4 GPIO Configuration
  PB8   ------> TIM4_CH3
  */
  GPIO_InitStruct.Pin = LL_GPIO_PIN_8;
  GPIO_InitStruct.Mode = LL_GPIO_MODE_ALTERNATE;
  GPIO_InitStruct.Speed = LL_GPIO_SPEED_FREQ_HIGH;
  GPIO_InitStruct.OutputType = LL_GPIO_OUTPUT_PUSHPULL;
  GPIO_InitStruct.Pull = LL_GPIO_PULL_DOWN;
  GPIO_InitStruct.Alternate = LL_GPIO_AF_2;
  LL_GPIO_Init(GPIOB, &GPIO_InitStruct);

}

static void MX_USART1_UART_Init(void)
{

  LL_USART_InitTypeDef USART_InitStruct = {0};

  LL_GPIO_InitTypeDef GPIO_InitStruct = {0};

  /* Peripheral clock enable */
  LL_APB2_GRP1_EnableClock(LL_APB2_GRP1_PERIPH_USART1);

  LL_AHB1_GRP1_EnableClock(LL_AHB1_GRP1_PERIPH_GPIOA);
  LL_AHB1_GRP1_EnableClock(LL_AHB1_GRP1_PERIPH_GPIOB);
  /**USART1 GPIO Configuration
  PA15   ------> USART1_TX
  PB3   ------> USART1_RX
  */
  GPIO_InitStruct.Pin = LL_GPIO_PIN_15;
  GPIO_InitStruct.Mode = LL_GPIO_MODE_ALTERNATE;
  GPIO_InitStruct.Speed = LL_GPIO_SPEED_FREQ_VERY_HIGH;
  GPIO_InitStruct.OutputType = LL_GPIO_OUTPUT_PUSHPULL;
  GPIO_InitStruct.Pull = LL_GPIO_PULL_NO;
  GPIO_InitStruct.Alternate = LL_GPIO_AF_7;
  LL_GPIO_Init(GPIOA, &GPIO_InitStruct);

  GPIO_InitStruct.Pin = LL_GPIO_PIN_3;
  GPIO_InitStruct.Mode = LL_GPIO_MODE_ALTERNATE;
  GPIO_InitStruct.Speed = LL_GPIO_SPEED_FREQ_VERY_HIGH;
  GPIO_InitStruct.OutputType = LL_GPIO_OUTPUT_PUSHPULL;
  GPIO_InitStruct.Pull = LL_GPIO_PULL_NO;
  GPIO_InitStruct.Alternate = LL_GPIO_AF_7;
  LL_GPIO_Init(GPIOB, &GPIO_InitStruct);

  /* USART1 DMA Init */

  /* USART1_RX Init */
  LL_DMA_SetChannelSelection(DMA2, LL_DMA_STREAM_5, LL_DMA_CHANNEL_4);

  LL_DMA_SetDataTransferDirection(DMA2, LL_DMA_STREAM_5, LL_DMA_DIRECTION_PERIPH_TO_MEMORY);

  LL_DMA_SetStreamPriorityLevel(DMA2, LL_DMA_STREAM_5, LL_DMA_PRIORITY_LOW);

  LL_DMA_SetMode(DMA2, LL_DMA_STREAM_5, LL_DMA_MODE_NORMAL);

  LL_DMA_SetPeriphIncMode(DMA2, LL_DMA_STREAM_5, LL_DMA_PERIPH_NOINCREMENT);

  LL_DMA_SetMemoryIncMode(DMA2, LL_DMA_STREAM_5, LL_DMA_MEMORY_INCREMENT);

  LL_DMA_SetPeriphSize(DMA2, LL_DMA_STREAM_5, LL_DMA_PDATAALIGN_BYTE);

  LL_DMA_SetMemorySize(DMA2, LL_DMA_STREAM_5, LL_DMA_MDATAALIGN_BYTE);

  LL_DMA_DisableFifoMode(DMA2, LL_DMA_STREAM_5);

  /* USART1_TX Init */
  LL_DMA_SetChannelSelection(DMA2, LL_DMA_STREAM_7, LL_DMA_CHANNEL_4);

  LL_DMA_SetDataTransferDirection(DMA2, LL_DMA_STREAM_7, LL_DMA_DIRECTION_MEMORY_TO_PERIPH);

  LL_DMA_SetStreamPriorityLevel(DMA2, LL_DMA_STREAM_7, LL_DMA_PRIORITY_LOW);

  LL_DMA_SetMode(DMA2, LL_DMA_STREAM_7, LL_DMA_MODE_NORMAL);

  LL_DMA_SetPeriphIncMode(DMA2, LL_DMA_STREAM_7, LL_DMA_PERIPH_NOINCREMENT);

  LL_DMA_SetMemoryIncMode(DMA2, LL_DMA_STREAM_7, LL_DMA_MEMORY_INCREMENT);

  LL_DMA_SetPeriphSize(DMA2, LL_DMA_STREAM_7, LL_DMA_PDATAALIGN_BYTE);

  LL_DMA_SetMemorySize(DMA2, LL_DMA_STREAM_7, LL_DMA_MDATAALIGN_BYTE);

  LL_DMA_DisableFifoMode(DMA2, LL_DMA_STREAM_7);

  /* USART1 interrupt Init */
  NVIC_SetPriority(USART1_IRQn, NVIC_EncodePriority(NVIC_GetPriorityGrouping(),14, 0));
  NVIC_EnableIRQ(USART1_IRQn);

  USART_InitStruct.BaudRate = 115200;
  USART_InitStruct.DataWidth = LL_USART_DATAWIDTH_8B;
  USART_InitStruct.StopBits = LL_USART_STOPBITS_1;
  USART_InitStruct.Parity = LL_USART_PARITY_NONE;
  USART_InitStruct.TransferDirection = LL_USART_DIRECTION_TX_RX;
  USART_InitStruct.HardwareFlowControl = LL_USART_HWCONTROL_NONE;
  USART_InitStruct.OverSampling = LL_USART_OVERSAMPLING_16;
  LL_USART_Init(USART1, &USART_InitStruct);
  LL_USART_ConfigAsyncMode(USART1);
  LL_USART_Enable(USART1);

}

static void MX_USART2_UART_Init(void)
{

  LL_USART_InitTypeDef USART_InitStruct = {0};

  LL_GPIO_InitTypeDef GPIO_InitStruct = {0};

  /* Peripheral clock enable */
  LL_APB1_GRP1_EnableClock(LL_APB1_GRP1_PERIPH_USART2);

  LL_AHB1_GRP1_EnableClock(LL_AHB1_GRP1_PERIPH_GPIOA);
  /**USART2 GPIO Configuration
  PA2   ------> USART2_TX
  PA3   ------> USART2_RX
  */
  GPIO_InitStruct.Pin = LL_GPIO_PIN_2|LL_GPIO_PIN_3;
  GPIO_InitStruct.Mode = LL_GPIO_MODE_ALTERNATE;
  GPIO_InitStruct.Speed = LL_GPIO_SPEED_FREQ_VERY_HIGH;
  GPIO_InitStruct.OutputType = LL_GPIO_OUTPUT_PUSHPULL;
  GPIO_InitStruct.Pull = LL_GPIO_PULL_NO;
  GPIO_InitStruct.Alternate = LL_GPIO_AF_7;
  LL_GPIO_Init(GPIOA, &GPIO_InitStruct);

  /* USART2 DMA Init */

  /* USART2_RX Init */
  LL_DMA_SetChannelSelection(DMA1, LL_DMA_STREAM_5, LL_DMA_CHANNEL_4);

  LL_DMA_SetDataTransferDirection(DMA1, LL_DMA_STREAM_5, LL_DMA_DIRECTION_PERIPH_TO_MEMORY);

  LL_DMA_SetStreamPriorityLevel(DMA1, LL_DMA_STREAM_5, LL_DMA_PRIORITY_LOW);

  LL_DMA_SetMode(DMA1, LL_DMA_STREAM_5, LL_DMA_MODE_NORMAL);

  LL_DMA_SetPeriphIncMode(DMA1, LL_DMA_STREAM_5, LL_DMA_PERIPH_NOINCREMENT);

  LL_DMA_SetMemoryIncMode(DMA1, LL_DMA_STREAM_5, LL_DMA_MEMORY_INCREMENT);

  LL_DMA_SetPeriphSize(DMA1, LL_DMA_STREAM_5, LL_DMA_PDATAALIGN_BYTE);

  LL_DMA_SetMemorySize(DMA1, LL_DMA_STREAM_5, LL_DMA_MDATAALIGN_BYTE);

  LL_DMA_DisableFifoMode(DMA1, LL_DMA_STREAM_5);

  /* USART2_TX Init */
  LL_DMA_SetChannelSelection(DMA1, LL_DMA_STREAM_6, LL_DMA_CHANNEL_4);

  LL_DMA_SetDataTransferDirection(DMA1, LL_DMA_STREAM_6, LL_DMA_DIRECTION_MEMORY_TO_PERIPH);

  LL_DMA_SetStreamPriorityLevel(DMA1, LL_DMA_STREAM_6, LL_DMA_PRIORITY_LOW);

  LL_DMA_SetMode(DMA1, LL_DMA_STREAM_6, LL_DMA_MODE_NORMAL);

  LL_DMA_SetPeriphIncMode(DMA1, LL_DMA_STREAM_6, LL_DMA_PERIPH_NOINCREMENT);

  LL_DMA_SetMemoryIncMode(DMA1, LL_DMA_STREAM_6, LL_DMA_MEMORY_INCREMENT);

  LL_DMA_SetPeriphSize(DMA1, LL_DMA_STREAM_6, LL_DMA_PDATAALIGN_BYTE);

  LL_DMA_SetMemorySize(DMA1, LL_DMA_STREAM_6, LL_DMA_MDATAALIGN_BYTE);

  LL_DMA_DisableFifoMode(DMA1, LL_DMA_STREAM_6);

  /* USART2 interrupt Init */
  NVIC_SetPriority(USART2_IRQn, NVIC_EncodePriority(NVIC_GetPriorityGrouping(),11, 0));
  NVIC_EnableIRQ(USART2_IRQn);

  USART_InitStruct.BaudRate = 420000;
  USART_InitStruct.DataWidth = LL_USART_DATAWIDTH_8B;
  USART_InitStruct.StopBits = LL_USART_STOPBITS_1;
  USART_InitStruct.Parity = LL_USART_PARITY_NONE;
  USART_InitStruct.TransferDirection = LL_USART_DIRECTION_TX_RX;
  USART_InitStruct.HardwareFlowControl = LL_USART_HWCONTROL_NONE;
  USART_InitStruct.OverSampling = LL_USART_OVERSAMPLING_16;
  LL_USART_Init(USART2, &USART_InitStruct);
  LL_USART_ConfigAsyncMode(USART2);
  LL_USART_Enable(USART2);

}

static void MX_DMA_Init(void)
{

  /* Init with LL driver */
  /* DMA controller clock enable */
  LL_AHB1_GRP1_EnableClock(LL_AHB1_GRP1_PERIPH_DMA2);
  LL_AHB1_GRP1_EnableClock(LL_AHB1_GRP1_PERIPH_DMA1);

  /* DMA interrupt init */
  /* DMA1_Stream5_IRQn interrupt configuration */
  NVIC_SetPriority(DMA1_Stream5_IRQn, NVIC_EncodePriority(NVIC_GetPriorityGrouping(),11, 0));
  NVIC_EnableIRQ(DMA1_Stream5_IRQn);
  /* DMA2_Stream0_IRQn interrupt configuration */
  NVIC_SetPriority(DMA2_Stream0_IRQn, NVIC_EncodePriority(NVIC_GetPriorityGrouping(),5, 0));
  NVIC_EnableIRQ(DMA2_Stream0_IRQn);

}

static void MX_GPIO_Init(void)
{
  LL_GPIO_InitTypeDef GPIO_InitStruct = {0};

  /* GPIO Ports Clock Enable */
  LL_AHB1_GRP1_EnableClock(LL_AHB1_GRP1_PERIPH_GPIOC);
  LL_AHB1_GRP1_EnableClock(LL_AHB1_GRP1_PERIPH_GPIOH);
  LL_AHB1_GRP1_EnableClock(LL_AHB1_GRP1_PERIPH_GPIOA);
  LL_AHB1_GRP1_EnableClock(LL_AHB1_GRP1_PERIPH_GPIOB);

  /**/
  LL_GPIO_ResetOutputPin(blue_led_GPIO_Port, blue_led_Pin);

  /**/
  LL_GPIO_ResetOutputPin(arm_led_GPIO_Port, arm_led_Pin);

  /**/
  LL_GPIO_SetOutputPin(chip_select_mpu6500_GPIO_Port, chip_select_mpu6500_Pin);

  /**/
  GPIO_InitStruct.Pin = blue_led_Pin;
  GPIO_InitStruct.Mode = LL_GPIO_MODE_OUTPUT;
  GPIO_InitStruct.Speed = LL_GPIO_SPEED_FREQ_LOW;
  GPIO_InitStruct.OutputType = LL_GPIO_OUTPUT_PUSHPULL;
  GPIO_InitStruct.Pull = LL_GPIO_PULL_NO;
  LL_GPIO_Init(blue_led_GPIO_Port, &GPIO_InitStruct);

  /**/
  GPIO_InitStruct.Pin = chip_select_mpu6500_Pin;
  GPIO_InitStruct.Mode = LL_GPIO_MODE_OUTPUT;
  GPIO_InitStruct.Speed = LL_GPIO_SPEED_FREQ_LOW;
  GPIO_InitStruct.OutputType = LL_GPIO_OUTPUT_PUSHPULL;
  GPIO_InitStruct.Pull = LL_GPIO_PULL_UP;
  LL_GPIO_Init(chip_select_mpu6500_GPIO_Port, &GPIO_InitStruct);

  /**/
  GPIO_InitStruct.Pin = arm_led_Pin;
  GPIO_InitStruct.Mode = LL_GPIO_MODE_OUTPUT;
  GPIO_InitStruct.Speed = LL_GPIO_SPEED_FREQ_LOW;
  GPIO_InitStruct.OutputType = LL_GPIO_OUTPUT_PUSHPULL;
  GPIO_InitStruct.Pull = LL_GPIO_PULL_DOWN;
  LL_GPIO_Init(arm_led_GPIO_Port, &GPIO_InitStruct);

}

void Error_Handler(void)
{
  /* USER CODE BEGIN Error_Handler_Debug */
  /* User can add his own implementation to report the HAL error return state */
  const void* pc = __builtin_return_address(0);
  hal_error_handler((uint32_t)pc);
  /* USER CODE END Error_Handler_Debug */
}

#ifdef  USE_FULL_ASSERT
/**
  * @brief  Reports the name of the source file and the source line number
  *         where the assert_param error has occurred.
  * @param  file: pointer to the source file name
  * @param  line: assert_param error line source number
  * @retval None
  */
void assert_failed(uint8_t *file, uint32_t line)
{
  /* USER CODE BEGIN 6 */
  /* User can add his own implementation to report the file name and line number,
     ex: printf("Wrong parameters value: file %s on line %d\r\n", file, line) */
  const void* pc = __builtin_return_address(0);
  hal_failed_assert_handler((const char*)file, line, (uint32_t)pc);
  /* USER CODE END 6 */
}
#endif /* USE_FULL_ASSERT */
